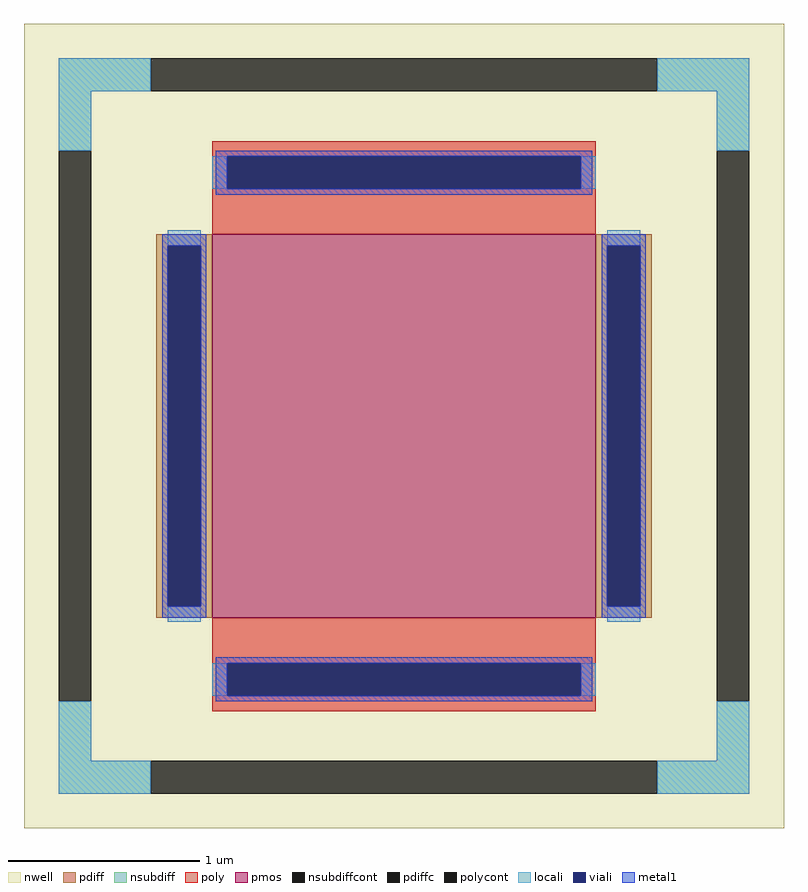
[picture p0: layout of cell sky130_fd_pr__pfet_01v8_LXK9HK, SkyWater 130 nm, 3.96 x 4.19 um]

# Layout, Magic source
magic
tech sky130A
magscale 1 2
<< nwell >>
rect -396 -419 396 419
<< pmos >>
rect -200 -200 200 200
<< pdiff >>
rect -258 188 -200 200
rect -258 -188 -246 188
rect -212 -188 -200 188
rect -258 -200 -200 -188
rect 200 188 258 200
rect 200 -188 212 188
rect 246 -188 258 188
rect 200 -200 258 -188
<< pdiffc >>
rect -246 -188 -212 188
rect 212 -188 246 188
<< nsubdiff >>
rect -360 349 -264 383
rect 264 349 360 383
rect -360 287 -326 349
rect 326 287 360 349
rect -360 -349 -326 -287
rect 326 -349 360 -287
rect -360 -383 -264 -349
rect 264 -383 360 -349
<< nsubdiffcont >>
rect -264 349 264 383
rect -360 -287 -326 287
rect 326 -287 360 287
rect -264 -383 264 -349
<< poly >>
rect -200 281 200 297
rect -200 247 -184 281
rect 184 247 200 281
rect -200 200 200 247
rect -200 -247 200 -200
rect -200 -281 -184 -247
rect 184 -281 200 -247
rect -200 -297 200 -281
<< polycont >>
rect -184 247 184 281
rect -184 -281 184 -247
<< locali >>
rect -360 349 -264 383
rect 264 349 360 383
rect -360 287 -326 349
rect 326 287 360 349
rect -200 247 -184 281
rect 184 247 200 281
rect -246 188 -212 204
rect -246 -204 -212 -188
rect 212 188 246 204
rect 212 -204 246 -188
rect -200 -281 -184 -247
rect 184 -281 200 -247
rect -360 -349 -326 -287
rect 326 -349 360 -287
rect -360 -383 -264 -349
rect 264 -383 360 -349
<< viali >>
rect -184 247 184 281
rect -246 -188 -212 188
rect 212 -188 246 188
rect -184 -281 184 -247
<< metal1 >>
rect -196 281 196 287
rect -196 247 -184 281
rect 184 247 196 281
rect -196 241 196 247
rect -252 188 -206 200
rect -252 -188 -246 188
rect -212 -188 -206 188
rect -252 -200 -206 -188
rect 206 188 252 200
rect 206 -188 212 188
rect 246 -188 252 188
rect 206 -200 252 -188
rect -196 -247 196 -241
rect -196 -281 -184 -247
rect 184 -281 196 -247
rect -196 -287 196 -281
<< properties >>
string FIXED_BBOX -343 -366 343 366
string gencell sky130_fd_pr__pfet_01v8
string library sky130
string parameters w 2 l 2 m 1 nf 1 diffcov 100 polycov 100 guard 1 glc 1 grc 1 gtc 1 gbc 1 tbcov 100 rlcov 100 topc 1 botc 1 poverlap 0 doverlap 1 lmin 0.15 wmin 0.42 compatible {sky130_fd_pr__pfet_01v8  sky130_fd_pr__pfet_01v8_lvt sky130_fd_pr__pfet_01v8_hvt  sky130_fd_pr__pfet_g5v0d10v5} full_metal 1 viasrc 100 viadrn 100 viagate 100 viagb 0 viagr 0 viagl 0 viagt 0
<< end >>
